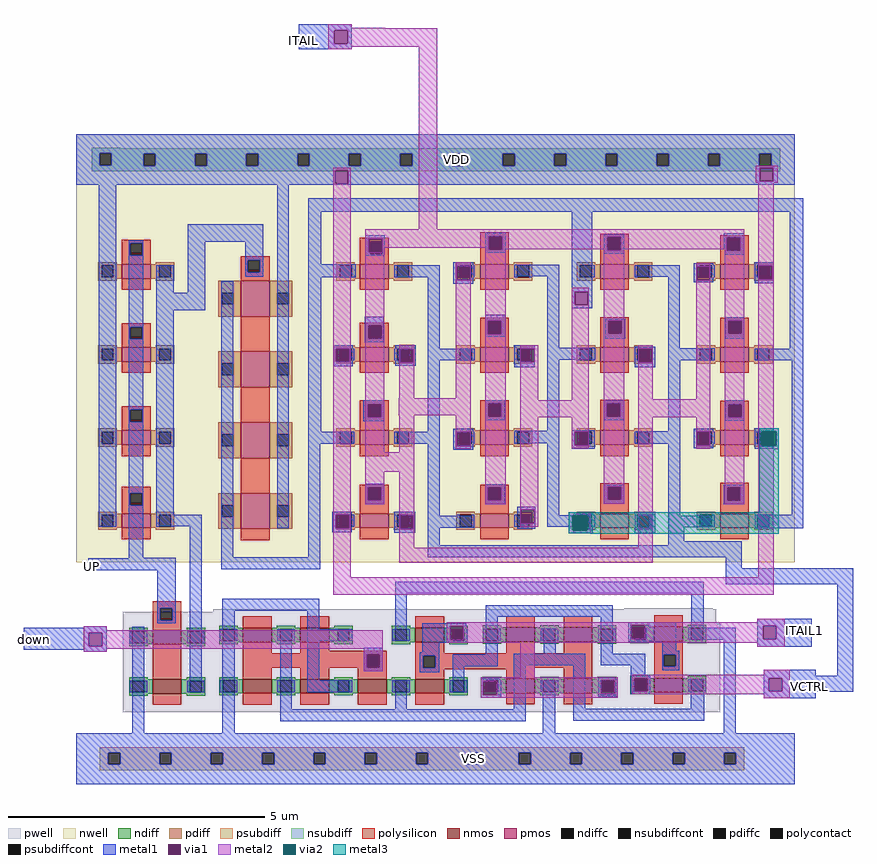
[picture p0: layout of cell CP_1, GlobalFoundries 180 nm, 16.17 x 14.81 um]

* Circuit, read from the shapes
.subckt CP_1 UP down VCTRL ITAIL1 ITAIL
XM1 n1 UP VSS VSS nfet_03v3 w=0.28u l=0.56u m=2
XM2 n2 down VSS VSS nfet_03v3 w=0.28u l=0.56u m=5
XM3 VCTRL ITAIL1 n2 VSS nfet_03v3 w=0.28u l=0.56u m=4
XM4 ITAIL1 ITAIL1 VSS VSS nfet_03v3 w=0.28u l=0.56u m=4
XM5 n1 UP VDD VDD pfet_03v3 w=0.28u l=0.56u m=4
XM6 VDD n1 n3 VDD pfet_03v3 w=0.7u l=0.56u m=4
XM7 ITAIL ITAIL VDD VDD pfet_03v3 w=0.28u l=0.56u m=8
XM8 VCTRL ITAIL n3 VDD pfet_03v3 w=0.28u l=0.56u m=8
.ends

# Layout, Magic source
magic
tech gf180mcuD
magscale 1 10
<< nwell >>
rect -928 972 1872 1345
rect -460 903 4 972
rect 1593 882 1595 951
rect 178 607 273 610
rect 277 607 290 610
rect 197 558 199 607
rect 659 552 663 630
rect 1207 544 1212 628
rect 197 226 199 308
rect 646 303 663 307
rect 666 303 758 307
rect 178 -22 290 -21
rect 1207 -96 1212 -17
rect 1675 -97 1679 -22
rect -717 -102 -671 -101
<< pwell >>
rect -227 -516 1567 -507
rect -746 -564 1567 -516
rect -746 -908 1582 -564
<< psubdiff >>
rect -836 -1066 1675 -1044
rect -836 -1112 -803 -1066
rect -757 -1112 -603 -1066
rect -557 -1112 -403 -1066
rect -357 -1112 -203 -1066
rect -157 -1112 -3 -1066
rect 43 -1112 197 -1066
rect 243 -1112 397 -1066
rect 443 -1112 597 -1066
rect 643 -1112 797 -1066
rect 843 -1112 997 -1066
rect 1043 -1112 1197 -1066
rect 1243 -1112 1397 -1066
rect 1443 -1112 1597 -1066
rect 1643 -1112 1675 -1066
rect -836 -1134 1675 -1112
<< nsubdiff >>
rect -868 1290 -757 1292
rect -868 1270 1815 1290
rect -868 1224 -837 1270
rect -791 1268 1815 1270
rect -791 1224 -665 1268
rect -868 1222 -665 1224
rect -619 1222 -465 1268
rect -419 1222 -265 1268
rect -219 1222 -65 1268
rect -19 1222 135 1268
rect 181 1222 335 1268
rect 381 1222 535 1268
rect 581 1222 735 1268
rect 781 1222 935 1268
rect 981 1222 1135 1268
rect 1181 1222 1335 1268
rect 1381 1222 1535 1268
rect 1581 1222 1735 1268
rect 1781 1222 1815 1268
rect -868 1200 1815 1222
<< psubdiffcont >>
rect -803 -1112 -757 -1066
rect -603 -1112 -557 -1066
rect -403 -1112 -357 -1066
rect -203 -1112 -157 -1066
rect -3 -1112 43 -1066
rect 197 -1112 243 -1066
rect 397 -1112 443 -1066
rect 597 -1112 643 -1066
rect 797 -1112 843 -1066
rect 997 -1112 1043 -1066
rect 1197 -1112 1243 -1066
rect 1397 -1112 1443 -1066
rect 1597 -1112 1643 -1066
<< nsubdiffcont >>
rect -837 1224 -791 1270
rect -665 1222 -619 1268
rect -465 1222 -419 1268
rect -265 1222 -219 1268
rect -65 1222 -19 1268
rect 135 1222 181 1268
rect 335 1222 381 1268
rect 535 1222 581 1268
rect 735 1222 781 1268
rect 935 1222 981 1268
rect 1135 1222 1181 1268
rect 1335 1222 1381 1268
rect 1535 1222 1581 1268
rect 1735 1222 1781 1268
<< polysilicon >>
rect 646 943 758 963
rect -750 919 -637 934
rect -750 882 -717 919
rect -671 882 -637 919
rect 177 923 290 941
rect 177 882 218 923
rect 264 882 290 923
rect 646 897 682 943
rect 728 897 758 943
rect 646 882 758 897
rect 1114 940 1226 957
rect 1114 894 1145 940
rect 1191 894 1226 940
rect 1114 882 1226 894
rect 1582 937 1694 951
rect 1582 891 1612 937
rect 1658 891 1694 937
rect 1582 882 1694 891
rect -286 853 -174 868
rect -286 818 -259 853
rect -213 818 -174 853
rect 646 614 758 630
rect -750 593 -638 607
rect -750 558 -717 593
rect -671 558 -638 593
rect 178 596 290 610
rect -286 542 -174 590
rect 178 558 212 596
rect 258 558 290 596
rect 646 568 678 614
rect 724 568 758 614
rect 646 558 758 568
rect 1114 614 1226 631
rect 1114 568 1148 614
rect 1194 568 1226 614
rect 1114 558 1226 568
rect 1582 615 1694 629
rect 1582 569 1616 615
rect 1662 569 1694 615
rect 1582 558 1694 569
rect 659 552 663 558
rect 1207 544 1212 558
rect -750 270 -638 285
rect -750 234 -717 270
rect -671 234 -638 270
rect -286 266 -174 314
rect 178 291 290 308
rect 178 245 212 291
rect 258 245 290 291
rect 178 234 290 245
rect 646 291 758 307
rect 646 245 680 291
rect 726 245 758 291
rect 646 234 758 245
rect 1114 291 1226 309
rect 1114 245 1143 291
rect 1189 245 1226 291
rect 1114 234 1226 245
rect 1582 292 1694 306
rect 1582 246 1616 292
rect 1662 246 1694 292
rect 1582 234 1694 246
rect 178 233 273 234
rect 278 233 290 234
rect 191 226 199 233
rect 1675 227 1679 234
rect -286 -10 -174 38
rect -750 -55 -638 -29
rect -750 -90 -717 -55
rect -671 -90 -638 -55
rect 178 -35 290 -21
rect 178 -81 211 -35
rect 257 -81 290 -35
rect 178 -90 290 -81
rect 646 -35 758 -21
rect 646 -81 678 -35
rect 724 -81 758 -35
rect 646 -90 758 -81
rect 1114 -33 1226 -15
rect 1114 -79 1145 -33
rect 1191 -79 1226 -33
rect 1114 -90 1226 -79
rect 1582 -34 1694 -14
rect 1582 -80 1612 -34
rect 1658 -80 1694 -34
rect 1582 -90 1694 -80
rect 1207 -96 1212 -90
rect 1675 -97 1679 -90
rect -717 -102 -671 -101
rect -711 -134 -702 -102
rect -630 -503 -518 -475
rect -630 -544 -600 -503
rect -601 -549 -600 -544
rect -554 -544 -518 -503
rect -554 -549 -553 -544
rect -601 -551 -553 -549
rect 58 -679 282 -669
rect -278 -686 282 -679
rect -630 -736 -518 -688
rect -278 -732 206 -686
rect 252 -732 282 -686
rect -278 -735 282 -732
rect 394 -689 1084 -678
rect 394 -735 425 -689
rect 471 -734 1084 -689
rect 1324 -684 1436 -675
rect 1324 -730 1362 -684
rect 1408 -730 1436 -684
rect 1324 -731 1436 -730
rect 1358 -734 1412 -731
rect 471 -735 748 -734
rect 421 -739 475 -735
rect 505 -741 748 -735
<< polycontact >>
rect -717 873 -671 919
rect 218 877 264 923
rect 682 897 728 943
rect 1145 894 1191 940
rect 1612 891 1658 937
rect -259 807 -213 853
rect -717 547 -671 593
rect 212 550 258 596
rect 678 568 724 614
rect 1148 568 1194 614
rect 1616 569 1662 615
rect -717 224 -671 270
rect 212 245 258 291
rect 680 245 726 291
rect 1143 245 1189 291
rect 1616 246 1662 292
rect -717 -101 -671 -55
rect 211 -81 257 -35
rect 678 -81 724 -35
rect 1145 -79 1191 -33
rect 1612 -80 1658 -34
rect -600 -549 -554 -503
rect 206 -732 252 -686
rect 425 -735 471 -689
rect 1362 -730 1408 -684
<< metal1 >>
rect -61 1749 145 1774
rect -61 1697 78 1749
rect 130 1697 145 1749
rect -61 1676 145 1697
rect 54 1675 145 1676
rect -928 1270 1872 1345
rect -928 1224 -837 1270
rect -791 1268 1872 1270
rect -791 1224 -665 1268
rect -928 1222 -665 1224
rect -619 1222 -465 1268
rect -419 1222 -265 1268
rect -219 1222 -65 1268
rect -19 1222 135 1268
rect 181 1222 335 1268
rect 381 1222 535 1268
rect 581 1222 735 1268
rect 781 1222 935 1268
rect 981 1222 1135 1268
rect 1181 1222 1335 1268
rect 1381 1222 1535 1268
rect 1581 1222 1735 1268
rect 1781 1222 1872 1268
rect -928 1214 1872 1222
rect -928 1204 1736 1214
rect -928 1152 81 1204
rect 133 1162 1736 1204
rect 1788 1162 1872 1214
rect 133 1152 1872 1162
rect -928 1147 1872 1152
rect -840 -185 -772 1147
rect -724 919 -666 931
rect -724 873 -717 919
rect -671 873 -666 919
rect -724 593 -666 873
rect -494 926 -199 994
rect -724 547 -717 593
rect -671 547 -666 593
rect -724 270 -666 547
rect -724 224 -717 270
rect -671 224 -666 270
rect -724 -55 -666 224
rect -724 -101 -717 -55
rect -671 -101 -666 -55
rect -724 -307 -666 -101
rect -616 726 -548 833
rect -494 726 -426 926
rect -270 853 -199 926
rect -270 807 -259 853
rect -213 807 -199 853
rect -270 789 -199 807
rect -616 658 -426 726
rect -616 -138 -548 658
rect -616 -184 -439 -138
rect -616 -185 -614 -184
rect -724 -309 -541 -307
rect -881 -355 -541 -309
rect -612 -503 -541 -355
rect -612 -549 -600 -503
rect -554 -549 -541 -503
rect -612 -562 -541 -549
rect -899 -580 -809 -574
rect -1133 -599 -809 -580
rect -1133 -651 -879 -599
rect -827 -651 -809 -599
rect -1133 -664 -809 -651
rect -899 -673 -809 -664
rect -709 -990 -663 -576
rect -485 -831 -439 -184
rect -362 -304 -315 772
rect -145 -192 -99 1147
rect -23 1043 1906 1094
rect -23 838 28 1043
rect 199 937 275 950
rect 199 885 212 937
rect 199 877 218 885
rect 264 877 275 937
rect 667 946 746 960
rect 667 894 680 946
rect 732 894 746 946
rect 667 882 746 894
rect 199 876 275 877
rect 199 871 273 876
rect -23 787 161 838
rect 311 787 489 833
rect -23 185 28 787
rect 197 600 271 634
rect 197 548 210 600
rect 262 548 271 600
rect 197 534 271 548
rect 75 509 149 521
rect 75 457 84 509
rect 136 457 149 509
rect 75 441 149 457
rect 316 507 395 522
rect 316 455 334 507
rect 386 455 395 507
rect 316 442 395 455
rect 443 509 489 787
rect 542 830 619 846
rect 542 778 555 830
rect 607 778 619 830
rect 781 790 954 836
rect 542 762 619 778
rect 666 617 745 641
rect 666 565 676 617
rect 728 565 745 617
rect 666 555 745 565
rect 780 509 860 521
rect 443 463 625 509
rect 191 293 273 308
rect 191 241 209 293
rect 261 241 273 293
rect 191 226 273 241
rect 443 185 489 463
rect 780 457 805 509
rect 857 457 860 509
rect 780 437 860 457
rect 908 512 954 790
rect 1004 731 1083 1043
rect 1129 944 1207 955
rect 1129 892 1142 944
rect 1194 892 1207 944
rect 1596 942 1675 959
rect 1596 897 1608 942
rect 1129 878 1207 892
rect 1600 890 1608 897
rect 1660 890 1675 942
rect 1600 874 1675 890
rect 1252 831 1425 834
rect 1251 788 1425 831
rect 1004 679 1015 731
rect 1067 679 1083 731
rect 1004 666 1083 679
rect 1133 618 1212 626
rect 1133 566 1146 618
rect 1198 566 1212 618
rect 1133 547 1212 566
rect 908 466 1095 512
rect 1248 508 1329 516
rect 666 295 743 308
rect 666 243 677 295
rect 729 243 743 295
rect 666 230 743 243
rect -23 139 145 185
rect -23 -304 24 139
rect 312 138 489 185
rect 199 -31 273 -18
rect 199 -83 208 -31
rect 260 -83 273 -31
rect 199 -97 273 -83
rect 70 -139 146 -127
rect 70 -191 84 -139
rect 136 -191 146 -139
rect 70 -207 146 -191
rect 312 -141 394 -127
rect 312 -193 334 -141
rect 386 -193 394 -141
rect 312 -208 394 -193
rect 443 -143 489 138
rect 541 183 620 196
rect 908 188 955 466
rect 1248 456 1265 508
rect 1317 456 1329 508
rect 1248 437 1329 456
rect 1379 510 1425 788
rect 1478 828 1554 841
rect 1478 776 1490 828
rect 1542 776 1554 828
rect 1478 767 1554 776
rect 1716 831 1790 845
rect 1716 779 1733 831
rect 1785 779 1790 831
rect 1716 764 1790 779
rect 1601 618 1675 632
rect 1601 566 1614 618
rect 1666 566 1675 618
rect 1601 547 1675 566
rect 1379 464 1560 510
rect 1853 509 1906 1043
rect 1128 295 1207 307
rect 1128 243 1140 295
rect 1192 243 1207 295
rect 1128 230 1207 243
rect 541 131 555 183
rect 607 131 620 183
rect 782 141 955 188
rect 541 115 620 131
rect 666 -31 742 -19
rect 666 -83 676 -31
rect 728 -83 742 -31
rect 666 -97 742 -83
rect 791 -120 862 -107
rect 443 -189 624 -143
rect 791 -172 805 -120
rect 857 -172 862 -120
rect 443 -257 489 -189
rect 791 -194 862 -172
rect 908 -140 955 141
rect 1003 185 1092 191
rect 1379 186 1426 464
rect 1495 463 1506 464
rect 1552 463 1560 464
rect 1716 463 1906 509
rect 1601 293 1675 307
rect 1601 241 1614 293
rect 1666 241 1675 293
rect 1601 227 1675 241
rect 1003 133 1015 185
rect 1067 133 1092 185
rect 1253 183 1426 186
rect 1251 139 1426 183
rect 1003 119 1092 133
rect 1128 -29 1208 -22
rect 1128 -81 1144 -29
rect 1196 -81 1208 -29
rect 1128 -96 1208 -81
rect 1010 -140 1086 -135
rect 1248 -140 1329 -127
rect 908 -141 1094 -140
rect 908 -186 1022 -141
rect 1010 -193 1022 -186
rect 1074 -186 1094 -141
rect 1074 -193 1086 -186
rect 1010 -211 1086 -193
rect 1248 -192 1265 -140
rect 1317 -192 1329 -140
rect 1248 -210 1329 -192
rect 1379 -142 1426 139
rect 1478 184 1554 197
rect 1478 132 1490 184
rect 1542 132 1554 184
rect 1478 120 1554 132
rect 1716 183 1790 198
rect 1716 131 1733 183
rect 1785 131 1790 183
rect 1716 118 1790 131
rect 1596 -32 1675 -22
rect 1596 -84 1609 -32
rect 1661 -84 1675 -32
rect 1596 -97 1675 -84
rect 1860 -138 1906 463
rect 1495 -142 1506 -141
rect 1379 -188 1548 -142
rect 1379 -242 1441 -188
rect 1716 -191 1906 -138
rect 1379 -257 1665 -242
rect 443 -304 1665 -257
rect -362 -351 24 -304
rect 1603 -348 1665 -304
rect 315 -445 1518 -399
rect 1603 -410 2101 -348
rect -358 -512 19 -466
rect -358 -990 -311 -512
rect -27 -584 19 -512
rect -133 -897 -87 -584
rect -27 -630 137 -584
rect 315 -630 361 -445
rect 669 -537 1163 -491
rect 421 -574 593 -561
rect 421 -626 529 -574
rect 581 -584 593 -574
rect 581 -626 596 -584
rect 421 -630 596 -626
rect -27 -784 19 -630
rect 421 -637 593 -630
rect 193 -683 266 -657
rect 421 -674 486 -637
rect 193 -735 204 -683
rect 256 -735 266 -683
rect 193 -749 266 -735
rect 410 -689 486 -674
rect 669 -683 715 -537
rect 895 -680 941 -583
rect 1117 -680 1163 -537
rect 1223 -570 1411 -557
rect 1223 -622 1235 -570
rect 1287 -622 1411 -570
rect 1223 -634 1411 -622
rect 1469 -580 1518 -445
rect 1727 -572 1939 -543
rect 1469 -626 1642 -580
rect 1356 -669 1411 -634
rect 410 -735 425 -689
rect 471 -735 486 -689
rect 410 -752 486 -735
rect 539 -729 715 -683
rect 778 -726 1056 -680
rect 1117 -726 1289 -680
rect -27 -830 137 -784
rect 315 -897 361 -784
rect 539 -830 585 -729
rect 649 -784 723 -775
rect 649 -788 729 -784
rect 649 -840 659 -788
rect 711 -840 729 -788
rect 649 -851 729 -840
rect 778 -897 824 -726
rect -133 -943 824 -897
rect 890 -990 939 -783
rect 1010 -895 1056 -726
rect 1234 -762 1289 -726
rect 1356 -684 1423 -669
rect 1356 -730 1362 -684
rect 1408 -730 1423 -684
rect 1356 -745 1423 -730
rect 1107 -784 1183 -772
rect 1107 -836 1119 -784
rect 1171 -836 1183 -784
rect 1107 -848 1183 -836
rect 1234 -775 1310 -762
rect 1234 -827 1247 -775
rect 1299 -827 1310 -775
rect 1234 -839 1310 -827
rect 1468 -895 1519 -780
rect 1010 -941 1519 -895
rect 1596 -990 1642 -626
rect 1727 -624 1749 -572
rect 1801 -624 1939 -572
rect 1727 -653 1939 -624
rect 1752 -766 1954 -743
rect 2039 -766 2101 -410
rect 1752 -775 2101 -766
rect 1752 -827 1772 -775
rect 1824 -827 2101 -775
rect 1752 -828 2101 -827
rect 1752 -853 1954 -828
rect -928 -1066 1872 -990
rect -928 -1112 -803 -1066
rect -757 -1112 -603 -1066
rect -557 -1112 -403 -1066
rect -357 -1112 -203 -1066
rect -157 -1112 -3 -1066
rect 43 -1112 197 -1066
rect 243 -1112 397 -1066
rect 443 -1112 597 -1066
rect 643 -1112 797 -1066
rect 843 -1112 997 -1066
rect 1043 -1112 1197 -1066
rect 1243 -1112 1397 -1066
rect 1443 -1112 1597 -1066
rect 1643 -1112 1872 -1066
rect -928 -1188 1872 -1112
<< via1 >>
rect 78 1697 130 1749
rect 81 1152 133 1204
rect 1736 1162 1788 1214
rect -879 -651 -827 -599
rect 212 923 264 937
rect 212 885 218 923
rect 218 885 264 923
rect 680 943 732 946
rect 680 897 682 943
rect 682 897 728 943
rect 728 897 732 943
rect 680 894 732 897
rect 210 596 262 600
rect 210 550 212 596
rect 212 550 258 596
rect 258 550 262 596
rect 210 548 262 550
rect 84 457 136 509
rect 334 455 386 507
rect 555 778 607 830
rect 676 614 728 617
rect 676 568 678 614
rect 678 568 724 614
rect 724 568 728 614
rect 676 565 728 568
rect 209 291 261 293
rect 209 245 212 291
rect 212 245 258 291
rect 258 245 261 291
rect 209 241 261 245
rect 805 457 857 509
rect 1142 940 1194 944
rect 1142 894 1145 940
rect 1145 894 1191 940
rect 1191 894 1194 940
rect 1142 892 1194 894
rect 1608 937 1660 942
rect 1608 891 1612 937
rect 1612 891 1658 937
rect 1658 891 1660 937
rect 1608 890 1660 891
rect 1015 679 1067 731
rect 1146 614 1198 618
rect 1146 568 1148 614
rect 1148 568 1194 614
rect 1194 568 1198 614
rect 1146 566 1198 568
rect 677 291 729 295
rect 677 245 680 291
rect 680 245 726 291
rect 726 245 729 291
rect 677 243 729 245
rect 208 -35 260 -31
rect 208 -81 211 -35
rect 211 -81 257 -35
rect 257 -81 260 -35
rect 208 -83 260 -81
rect 84 -191 136 -139
rect 334 -193 386 -141
rect 1265 456 1317 508
rect 1490 776 1542 828
rect 1733 779 1785 831
rect 1614 615 1666 618
rect 1614 569 1616 615
rect 1616 569 1662 615
rect 1662 569 1666 615
rect 1614 566 1666 569
rect 1140 291 1192 295
rect 1140 245 1143 291
rect 1143 245 1189 291
rect 1189 245 1192 291
rect 1140 243 1192 245
rect 555 131 607 183
rect 676 -35 728 -31
rect 676 -81 678 -35
rect 678 -81 724 -35
rect 724 -81 728 -35
rect 676 -83 728 -81
rect 805 -172 857 -120
rect 1614 292 1666 293
rect 1614 246 1616 292
rect 1616 246 1662 292
rect 1662 246 1666 292
rect 1614 241 1666 246
rect 1015 133 1067 185
rect 1144 -33 1196 -29
rect 1144 -79 1145 -33
rect 1145 -79 1191 -33
rect 1191 -79 1196 -33
rect 1144 -81 1196 -79
rect 1022 -193 1074 -141
rect 1265 -192 1317 -140
rect 1490 132 1542 184
rect 1733 131 1785 183
rect 1609 -34 1661 -32
rect 1609 -80 1612 -34
rect 1612 -80 1658 -34
rect 1658 -80 1661 -34
rect 1609 -84 1661 -80
rect 529 -626 581 -574
rect 204 -686 256 -683
rect 204 -732 206 -686
rect 206 -732 252 -686
rect 252 -732 256 -686
rect 204 -735 256 -732
rect 1235 -622 1287 -570
rect 659 -840 711 -788
rect 1119 -836 1171 -784
rect 1247 -827 1299 -775
rect 1749 -624 1801 -572
rect 1772 -827 1824 -775
<< metal2 >>
rect 54 1759 145 1774
rect 54 1758 275 1759
rect 54 1749 480 1758
rect 54 1697 78 1749
rect 130 1697 480 1749
rect 54 1686 480 1697
rect 54 1675 145 1686
rect 73 1204 142 1214
rect 73 1152 81 1204
rect 133 1152 142 1204
rect 73 509 142 1152
rect 408 974 480 1686
rect 1721 1214 1806 1222
rect 1721 1162 1736 1214
rect 1788 1162 1806 1214
rect 1721 1155 1806 1162
rect 73 457 84 509
rect 136 457 142 509
rect 73 -139 142 457
rect 199 946 1675 974
rect 199 937 680 946
rect 199 885 212 937
rect 264 902 680 937
rect 264 885 275 902
rect 199 875 275 885
rect 666 894 680 902
rect 732 944 1675 946
rect 732 897 1142 944
rect 732 894 746 897
rect 199 600 273 875
rect 199 548 210 600
rect 262 548 273 600
rect 199 293 273 548
rect 552 830 610 845
rect 552 778 555 830
rect 607 778 610 830
rect 331 507 389 523
rect 331 455 334 507
rect 386 455 389 507
rect 331 315 389 455
rect 552 315 610 778
rect 199 241 209 293
rect 261 241 273 293
rect 330 249 610 315
rect 199 104 273 241
rect 331 104 389 249
rect 552 183 610 249
rect 552 131 555 183
rect 607 131 610 183
rect 552 118 610 131
rect 666 617 746 894
rect 1128 892 1142 897
rect 1194 942 1675 944
rect 1194 897 1608 942
rect 1194 892 1207 897
rect 666 565 676 617
rect 728 565 746 617
rect 666 295 746 565
rect 1004 731 1069 746
rect 1004 679 1015 731
rect 1067 679 1069 731
rect 666 243 677 295
rect 729 243 746 295
rect 199 29 389 104
rect 199 -31 273 29
rect 199 -83 208 -31
rect 260 -83 273 -31
rect 199 -97 273 -83
rect 73 -191 84 -139
rect 136 -191 142 -139
rect 73 -382 142 -191
rect 331 -141 389 29
rect 666 -18 746 243
rect 803 509 873 521
rect 803 457 805 509
rect 857 457 873 509
rect 803 308 873 457
rect 1004 308 1069 679
rect 803 241 1069 308
rect 666 -31 747 -18
rect 666 -83 676 -31
rect 728 -83 747 -31
rect 666 -97 747 -83
rect 331 -193 334 -141
rect 386 -193 389 -141
rect 803 -120 873 241
rect 1004 185 1069 241
rect 1004 133 1015 185
rect 1067 133 1069 185
rect 1004 121 1069 133
rect 1128 618 1207 892
rect 1600 890 1608 897
rect 1660 890 1675 942
rect 1128 566 1146 618
rect 1198 566 1207 618
rect 1128 295 1207 566
rect 1488 828 1544 841
rect 1488 776 1490 828
rect 1542 776 1544 828
rect 1128 243 1140 295
rect 1192 243 1207 295
rect 1128 -29 1207 243
rect 1128 -81 1144 -29
rect 1196 -81 1207 -29
rect 1128 -96 1207 -81
rect 1263 508 1319 521
rect 1263 456 1265 508
rect 1317 456 1319 508
rect 1263 312 1319 456
rect 1488 312 1544 776
rect 1263 241 1544 312
rect 803 -172 805 -120
rect 857 -172 873 -120
rect 803 -186 873 -172
rect 992 -141 1077 -128
rect 992 -143 1022 -141
rect 331 -268 389 -193
rect 992 -199 1008 -143
rect 1074 -193 1077 -141
rect 1064 -199 1077 -193
rect 992 -211 1077 -199
rect 1263 -140 1319 241
rect 1488 184 1544 241
rect 1488 132 1490 184
rect 1542 132 1544 184
rect 1488 119 1544 132
rect 1600 618 1675 890
rect 1600 566 1614 618
rect 1666 566 1675 618
rect 1600 293 1675 566
rect 1600 241 1614 293
rect 1666 241 1675 293
rect 1600 -32 1675 241
rect 1600 -84 1609 -32
rect 1661 -84 1675 -32
rect 1600 -97 1675 -84
rect 1731 831 1790 1155
rect 1731 779 1733 831
rect 1785 779 1790 831
rect 1731 199 1790 779
rect 1731 187 1811 199
rect 1731 183 1744 187
rect 1731 131 1733 183
rect 1800 131 1811 187
rect 1731 116 1811 131
rect 1263 -192 1265 -140
rect 1317 -192 1319 -140
rect 1263 -268 1319 -192
rect 331 -326 1319 -268
rect 1731 -382 1790 116
rect 73 -451 1790 -382
rect 1727 -557 1833 -543
rect 517 -570 1833 -557
rect 517 -574 1235 -570
rect -899 -588 -809 -574
rect -899 -599 266 -588
rect -899 -651 -879 -599
rect -827 -651 266 -599
rect 517 -626 529 -574
rect 581 -622 1235 -574
rect 1287 -572 1833 -570
rect 1287 -622 1749 -572
rect 581 -624 1749 -622
rect 1801 -624 1833 -572
rect 581 -626 1833 -624
rect 517 -637 1833 -626
rect 593 -638 1833 -637
rect -899 -661 266 -651
rect -899 -673 -809 -661
rect 193 -683 266 -661
rect 193 -735 204 -683
rect 256 -735 266 -683
rect 193 -749 266 -735
rect 803 -771 860 -638
rect 1727 -653 1833 -638
rect 1752 -762 1853 -743
rect 648 -784 1183 -771
rect 648 -788 1119 -784
rect 648 -840 659 -788
rect 711 -836 1119 -788
rect 1171 -836 1183 -784
rect 711 -840 1183 -836
rect 1239 -775 1853 -762
rect 1239 -827 1247 -775
rect 1299 -827 1772 -775
rect 1824 -827 1853 -775
rect 1239 -839 1853 -827
rect 648 -851 1183 -840
rect 1752 -853 1853 -839
<< via2 >>
rect 1008 -193 1022 -143
rect 1022 -193 1064 -143
rect 1008 -199 1064 -193
rect 1744 183 1800 187
rect 1744 131 1785 183
rect 1785 131 1800 183
<< metal3 >>
rect 1734 187 1811 199
rect 1734 131 1744 187
rect 1800 131 1811 187
rect 992 -129 1077 -128
rect 1734 -129 1811 131
rect 992 -143 1811 -129
rect 992 -199 1008 -143
rect 1064 -199 1811 -143
rect 992 -211 1811 -199
rect 1076 -212 1811 -211
use nmos_3p3_FYTGVN  nmos_3p3_FYTGVN_0
transform 1 0 1380 0 1 -803
box -172 -100 172 100
use nmos_3p3_FYTGVN  nmos_3p3_FYTGVN_1
transform 1 0 450 0 1 -807
box -172 -100 172 100
use nmos_3p3_FYTGVN  nmos_3p3_FYTGVN_2
transform 1 0 226 0 1 -807
box -172 -100 172 100
use nmos_3p3_FYTGVN  nmos_3p3_FYTGVN_4
transform 1 0 450 0 1 -607
box -172 -100 172 100
use nmos_3p3_FYTGVN  nmos_3p3_FYTGVN_7
transform 1 0 1380 0 1 -603
box -172 -100 172 100
use nmos_3p3_GYTGVN  nmos_3p3_GYTGVN_0
transform 1 0 916 0 1 -806
box -284 -100 284 100
use nmos_3p3_GYTGVN  nmos_3p3_GYTGVN_1
transform 1 0 916 0 1 -606
box -284 -100 284 100
use nmos_3p3_GYTGVN  nmos_3p3_GYTGVN_2
transform 1 0 -110 0 1 -807
box -284 -100 284 100
use nmos_3p3_GYTGVN  nmos_3p3_GYTGVN_3
transform 1 0 -110 0 1 -607
box -284 -100 284 100
use nmos_3p3_XYTGVN  nmos_3p3_XYTGVN_0
transform 1 0 -574 0 1 -712
box -172 -196 172 196
use pmos_3p3_MDK7F7  pmos_3p3_MDK7F7_0
transform 1 0 234 0 1 486
box -234 -162 234 162
use pmos_3p3_MDK7F7  pmos_3p3_MDK7F7_1
transform 1 0 234 0 1 -162
box -234 -162 234 162
use pmos_3p3_MDK7F7  pmos_3p3_MDK7F7_2
transform 1 0 702 0 1 -162
box -234 -162 234 162
use pmos_3p3_MDK7F7  pmos_3p3_MDK7F7_3
transform 1 0 1170 0 1 -162
box -234 -162 234 162
use pmos_3p3_MDK7F7  pmos_3p3_MDK7F7_4
transform 1 0 1638 0 1 -162
box -234 -162 234 162
use pmos_3p3_MDK7F7  pmos_3p3_MDK7F7_5
transform 1 0 702 0 1 486
box -234 -162 234 162
use pmos_3p3_MDK7F7  pmos_3p3_MDK7F7_6
transform 1 0 1170 0 1 486
box -234 -162 234 162
use pmos_3p3_MDK7F7  pmos_3p3_MDK7F7_7
transform 1 0 1638 0 1 486
box -234 -162 234 162
use pmos_3p3_MDK7F7  pmos_3p3_MDK7F7_8
transform 1 0 234 0 1 810
box -234 -162 234 162
use pmos_3p3_MDK7F7  pmos_3p3_MDK7F7_9
transform 1 0 702 0 1 810
box -234 -162 234 162
use pmos_3p3_MDK7F7  pmos_3p3_MDK7F7_10
transform 1 0 1170 0 1 810
box -234 -162 234 162
use pmos_3p3_MDK7F7  pmos_3p3_MDK7F7_11
transform 1 0 1638 0 1 810
box -234 -162 234 162
use pmos_3p3_MDK7F7  pmos_3p3_MDK7F7_12
transform 1 0 1638 0 1 162
box -234 -162 234 162
use pmos_3p3_MDK7F7  pmos_3p3_MDK7F7_13
transform 1 0 1170 0 1 162
box -234 -162 234 162
use pmos_3p3_MDK7F7  pmos_3p3_MDK7F7_14
transform 1 0 702 0 1 162
box -234 -162 234 162
use pmos_3p3_MDK7F7  pmos_3p3_MDK7F7_15
transform 1 0 234 0 1 162
box -234 -162 234 162
use pmos_3p3_MDK7F7  pmos_3p3_MDK7F7_16
transform 1 0 -694 0 1 162
box -234 -162 234 162
use pmos_3p3_MDK7F7  pmos_3p3_MDK7F7_17
transform 1 0 -694 0 1 -162
box -234 -162 234 162
use pmos_3p3_MDK7F7  pmos_3p3_MDK7F7_18
transform 1 0 -694 0 1 810
box -234 -162 234 162
use pmos_3p3_MDK7F7  pmos_3p3_MDK7F7_19
transform 1 0 -694 0 1 486
box -234 -162 234 162
use pmos_3p3_RL7FD7  pmos_3p3_RL7FD7_0
transform 1 0 -230 0 1 290
box -230 -614 230 614
<< labels >>
flabel nsubdiffcont 555 1244 555 1244 0 FreeSans 2500 0 0 0 VDD
flabel psubdiffcont 620 -1089 620 -1089 0 FreeSans 750 0 0 0 VSS
flabel metal1 s -870 -339 -870 -339 0 FreeSans 2500 0 0 0 UP
port 1 nsew
flabel metal1 s -1089 -626 -1089 -626 0 FreeSans 2500 0 0 0 down
port 2 nsew
flabel metal1 s 1928 -809 1928 -809 0 FreeSans 2500 0 0 0 VCTRL
port 3 nsew
flabel metal1 s 1909 -590 1909 -590 0 FreeSans 2500 0 0 0 ITAIL1
port 4 nsew
flabel metal1 s -43 1710 -43 1710 0 FreeSans 2500 0 0 0 ITAIL
port 5 nsew
<< end >>

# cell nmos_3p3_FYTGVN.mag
magic
tech gf180mcuD
magscale 1 10
<< pwell >>
rect -172 -100 172 100
<< nmos >>
rect -56 -28 56 28
<< ndiff >>
rect -148 28 -76 36
rect 76 28 148 36
rect -148 23 -56 28
rect -148 -23 -135 23
rect -89 -23 -56 23
rect -148 -28 -56 -23
rect 56 23 148 28
rect 56 -23 89 23
rect 135 -23 148 23
rect 56 -28 148 -23
rect -148 -36 -76 -28
rect 76 -36 148 -28
<< ndiffc >>
rect -135 -23 -89 23
rect 89 -23 135 23
<< polysilicon >>
rect -56 28 56 72
rect -56 -72 56 -28
<< metal1 >>
rect -146 -23 -135 23
rect -89 -23 -78 23
rect 78 -23 89 23
rect 135 -23 146 23
<< end >>

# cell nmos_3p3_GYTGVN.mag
magic
tech gf180mcuD
magscale 1 10
<< pwell >>
rect -284 -100 284 100
<< nmos >>
rect -168 -28 -56 28
rect 56 -28 168 28
<< ndiff >>
rect -260 28 -188 36
rect -36 28 36 36
rect 188 28 260 36
rect -260 23 -168 28
rect -260 -23 -247 23
rect -201 -23 -168 23
rect -260 -28 -168 -23
rect -56 23 56 28
rect -56 -23 -23 23
rect 23 -23 56 23
rect -56 -28 56 -23
rect 168 23 260 28
rect 168 -23 201 23
rect 247 -23 260 23
rect 168 -28 260 -23
rect -260 -36 -188 -28
rect -36 -36 36 -28
rect 188 -36 260 -28
<< ndiffc >>
rect -247 -23 -201 23
rect -23 -23 23 23
rect 201 -23 247 23
<< polysilicon >>
rect -168 28 -56 72
rect 56 28 168 72
rect -168 -72 -56 -28
rect 56 -72 168 -28
<< metal1 >>
rect -258 -23 -247 23
rect -201 -23 -190 23
rect -34 -23 -23 23
rect 23 -23 34 23
rect 190 -23 201 23
rect 247 -23 258 23
<< end >>

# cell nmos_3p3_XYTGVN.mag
magic
tech gf180mcuD
magscale 1 10
<< pwell >>
rect -172 -196 172 196
<< nmos >>
rect -56 68 56 124
rect -56 -124 56 -68
<< ndiff >>
rect -148 124 -76 132
rect 76 124 148 132
rect -148 119 -56 124
rect -148 73 -135 119
rect -89 73 -56 119
rect -148 68 -56 73
rect 56 119 148 124
rect 56 73 89 119
rect 135 73 148 119
rect 56 68 148 73
rect -148 60 -76 68
rect 76 60 148 68
rect -148 -68 -76 -60
rect 76 -68 148 -60
rect -148 -73 -56 -68
rect -148 -119 -135 -73
rect -89 -119 -56 -73
rect -148 -124 -56 -119
rect 56 -73 148 -68
rect 56 -119 89 -73
rect 135 -119 148 -73
rect 56 -124 148 -119
rect -148 -132 -76 -124
rect 76 -132 148 -124
<< ndiffc >>
rect -135 73 -89 119
rect 89 73 135 119
rect -135 -119 -89 -73
rect 89 -119 135 -73
<< polysilicon >>
rect -56 124 56 168
rect -56 24 56 68
rect -56 -68 56 -24
rect -56 -168 56 -124
<< metal1 >>
rect -146 73 -135 119
rect -89 73 -78 119
rect 78 73 89 119
rect 135 73 146 119
rect -146 -119 -135 -73
rect -89 -119 -78 -73
rect 78 -119 89 -73
rect 135 -119 146 -73
<< end >>

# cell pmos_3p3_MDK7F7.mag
magic
tech gf180mcuD
magscale 1 10
<< nwell >>
rect -234 -162 234 162
<< pmos >>
rect -56 -28 56 28
<< pdiff >>
rect -148 28 -76 36
rect 76 28 148 36
rect -148 23 -56 28
rect -148 -23 -135 23
rect -89 -23 -56 23
rect -148 -28 -56 -23
rect 56 23 148 28
rect 56 -23 89 23
rect 135 -23 148 23
rect 56 -28 148 -23
rect -148 -36 -76 -28
rect 76 -36 148 -28
<< pdiffc >>
rect -135 -23 -89 23
rect 89 -23 135 23
<< polysilicon >>
rect -56 28 56 72
rect -56 -72 56 -28
<< metal1 >>
rect -146 -23 -135 23
rect -89 -23 -78 23
rect 78 -23 89 23
rect 135 -23 146 23
<< end >>

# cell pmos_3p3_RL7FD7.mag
magic
tech gf180mcuD
magscale 1 10
<< nwell >>
rect -230 -614 230 614
<< pmos >>
rect -56 344 56 484
rect -56 68 56 208
rect -56 -208 56 -68
rect -56 -484 56 -344
<< pdiff >>
rect -144 437 -56 484
rect -144 391 -131 437
rect -85 391 -56 437
rect -144 344 -56 391
rect 56 437 144 484
rect 56 391 85 437
rect 131 391 144 437
rect 56 344 144 391
rect -144 161 -56 208
rect -144 115 -131 161
rect -85 115 -56 161
rect -144 68 -56 115
rect 56 161 144 208
rect 56 115 85 161
rect 131 115 144 161
rect 56 68 144 115
rect -144 -115 -56 -68
rect -144 -161 -131 -115
rect -85 -161 -56 -115
rect -144 -208 -56 -161
rect 56 -115 144 -68
rect 56 -161 85 -115
rect 131 -161 144 -115
rect 56 -208 144 -161
rect -144 -391 -56 -344
rect -144 -437 -131 -391
rect -85 -437 -56 -391
rect -144 -484 -56 -437
rect 56 -391 144 -344
rect 56 -437 85 -391
rect 131 -437 144 -391
rect 56 -484 144 -437
<< pdiffc >>
rect -131 391 -85 437
rect 85 391 131 437
rect -131 115 -85 161
rect 85 115 131 161
rect -131 -161 -85 -115
rect 85 -161 131 -115
rect -131 -437 -85 -391
rect 85 -437 131 -391
<< polysilicon >>
rect -56 484 56 528
rect -56 300 56 344
rect -56 208 56 252
rect -56 24 56 68
rect -56 -68 56 -24
rect -56 -252 56 -208
rect -56 -344 56 -300
rect -56 -528 56 -484
<< metal1 >>
rect -131 437 -85 482
rect -131 346 -85 391
rect 85 437 131 482
rect 85 346 131 391
rect -131 161 -85 206
rect -131 70 -85 115
rect 85 161 131 206
rect 85 70 131 115
rect -131 -115 -85 -70
rect -131 -206 -85 -161
rect 85 -115 131 -70
rect 85 -206 131 -161
rect -131 -391 -85 -346
rect -131 -482 -85 -437
rect 85 -391 131 -346
rect 85 -482 131 -437
<< end >>
